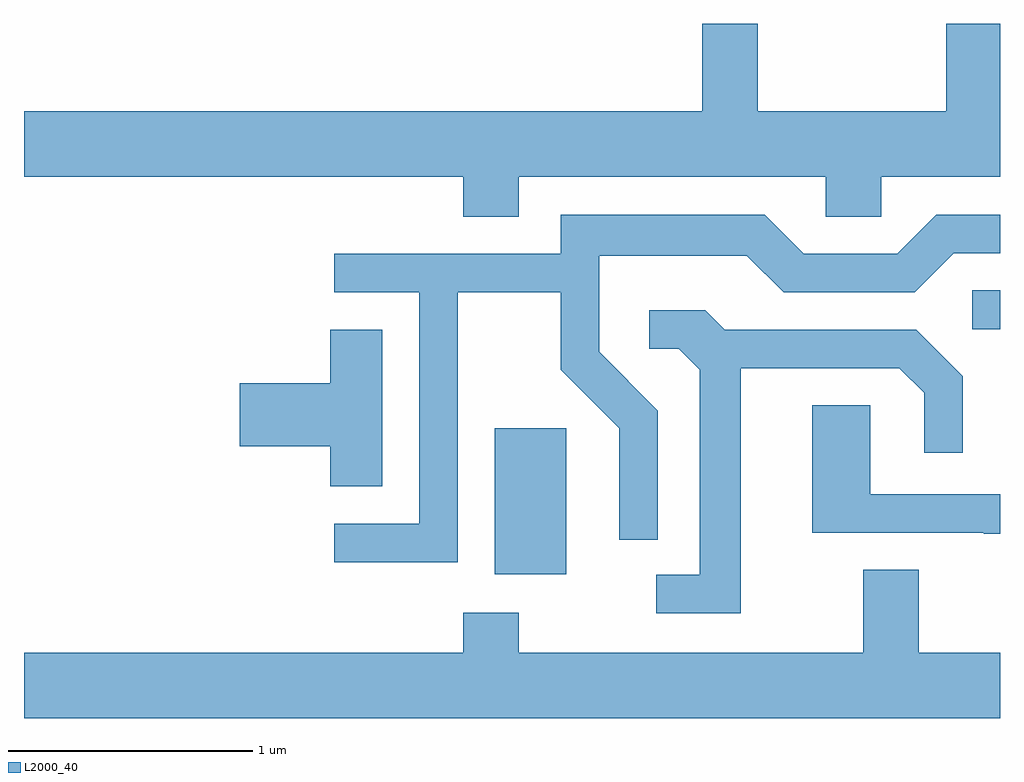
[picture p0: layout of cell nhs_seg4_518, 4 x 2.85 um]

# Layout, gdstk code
import gdstk
lib = gdstk.Library(unit=1e-6, precision=1e-09)
def R(c, l, rs):  # rectangles x0, y0, x1, y1
    for r in rs: c.add(gdstk.rectangle(r[:2], r[2:], *l))
def P(c, l, *ps):  # polygons
    for p in ps: c.add(gdstk.Polygon(p, *l))
L2000_40 = (2000, 40)

nhs_seg4_518 = lib.new_cell('nhs_seg4_518')
R(nhs_seg4_518, L2000_40, [(201.541,1339.726,201.834,1340.324), (203.498,1340.731,203.611,1340.889)])
P(nhs_seg4_518, L2000_40, [(201.639,1341.356),(202.896,1341.356),(202.896,1341.191),(203.124,1341.191),(203.124,1341.356),(203.611,1341.356),(203.611,1341.982),(203.391,1341.982),(203.391,1341.624),(202.619,1341.624),(202.619,1341.982),(202.391,1341.982),(202.391,1341.624),(199.611,1341.624),(199.611,1341.356),(201.411,1341.356),(201.411,1341.191),(201.639,1341.191)],
  [(201.389,1340.881),(201.811,1340.881),(201.811,1340.564),(202.051,1340.324),(202.051,1339.868),(202.209,1339.868),(202.209,1340.397),(201.969,1340.637),(201.969,1341.031),(202.574,1341.031),(202.724,1340.881),(203.262,1340.881),(203.422,1341.041),(203.611,1341.041),(203.611,1341.199),(203.349,1341.199),(203.189,1341.039),(202.807,1341.039),(202.647,1341.199),(201.811,1341.199),(201.811,1341.039),(200.883,1341.039),(200.883,1340.881),(201.231,1340.881),(201.231,1339.934),(200.883,1339.934),(200.883,1339.776),(201.389,1339.776)],
  [(202.549,1340.571),(203.199,1340.571),(203.301,1340.469),(203.301,1340.223),(203.459,1340.223),(203.459,1340.537),(203.267,1340.729),(202.482,1340.729),(202.402,1340.809),(202.173,1340.809),(202.173,1340.651),(202.294,1340.651),(202.381,1340.564),(202.381,1339.724),(202.203,1339.724),(202.203,1339.566),(202.549,1339.566)],
  [(201.079,1340.729),(200.866,1340.729),(200.866,1340.509),(200.496,1340.509),(200.496,1340.251),(200.866,1340.251),(200.866,1340.086),(201.079,1340.086)],
  [(203.611,1340.054),(203.079,1340.054),(203.079,1340.419),(202.841,1340.419),(202.841,1339.896),(203.545,1339.896),(203.545,1339.891),(203.611,1339.891)],
  [(203.611,1339.404),(203.279,1339.404),(203.279,1339.744),(203.051,1339.744),(203.051,1339.404),(201.639,1339.404),(201.639,1339.569),(201.411,1339.569),(201.411,1339.404),(199.611,1339.404),(199.611,1339.136),(203.611,1339.136)])

lib.write_gds('nhs_seg4_518.gds')
